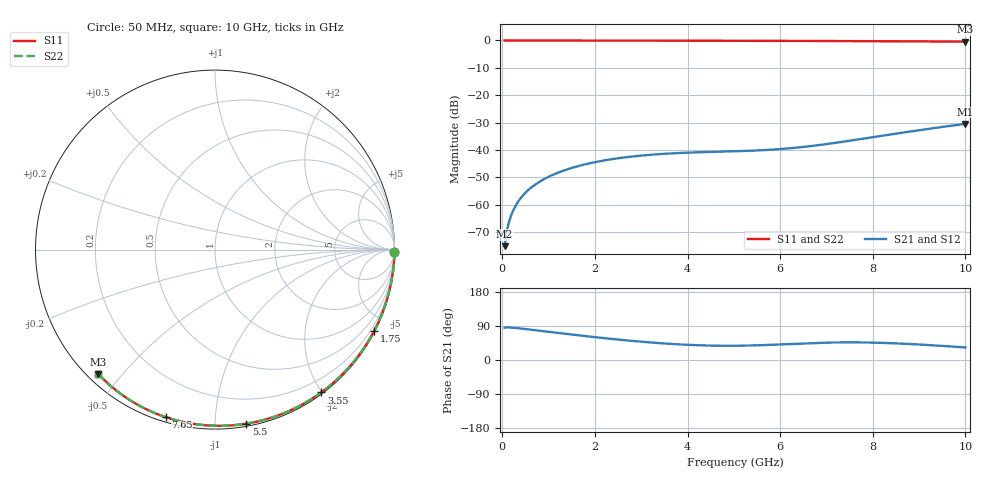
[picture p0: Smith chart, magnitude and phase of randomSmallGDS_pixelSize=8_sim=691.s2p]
! freq	dB(S11)	phase(S11)	dB(S12)	phase(S12)
!  dB(S21)	phase(S21)	dB(S22)	phase(S22)
!S-par simulation data
#  GHz  S  DB  R 50
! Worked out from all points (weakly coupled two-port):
!   200 points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, 50 MHz to 10 GHz, reference 50 ohm
!   highest |S21| = -30.49 dB at 10 GHz (marker M1); lowest = -75.2 dB at 50 MHz (marker M2)
!   lowest |S11| = -0.4 dB at 10 GHz (marker M3), VSWR 39.32, Z = 1.51 - j21.6 ohm
!   |S11| at or under -10 dB: nowhere
!   |S22| runs from -0.4 to 0.0 dB; largest |S21 - S12| = 0
!   S11 on the Smith chart (normalised r, x): 50 MHz: open; 1.75 GHz: 0.04, -4.17; 3.55 GHz: 0.02, -1.99; 5.5 GHz: 0.02, -1.20; 7.65 GHz: 0.02, -0.75; 10 GHz: 0.03, -0.43
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0.05  -0.00 -0.8  -75.20 85.4  -75.20 85.4  -0.00 -0.8
0.1  -0.00 -1.6  -69.46 85.8  -69.46 85.8  -0.00 -1.6
0.15  -0.00 -2.4  -66.02 85.8  -66.02 85.8  -0.00 -2.4
0.2  -0.00 -3.1  -63.55 85.5  -63.55 85.5  -0.00 -3.1
0.25  -0.00 -3.9  -61.63 85.0  -61.63 85.0  -0.00 -3.9
0.35  -0.00 -5.5  -58.74 83.8  -58.74 83.8  -0.00 -5.5
0.5  -0.01 -7.8  -55.67 81.7  -55.67 81.7  -0.01 -7.8
0.7  -0.01 -10.9  -52.81 78.8  -52.81 78.8  -0.01 -10.9
1  -0.02 -15.5  -49.83 74.4  -49.83 74.4  -0.02 -15.5
1.35  -0.03 -20.9  -47.41 69.3  -47.41 69.3  -0.03 -20.9
1.75  -0.03 -27.0  -45.44 63.7  -45.44 63.7  -0.03 -27.0
2.5  -0.05 -38.2  -43.06 53.9  -43.06 53.9  -0.05 -38.2
3.4  -0.07 -51.2  -41.54 44.4  -41.54 44.4  -0.07 -51.2
3.55  -0.07 -53.4  -41.38 43.2  -41.38 43.2  -0.07 -53.4
4.3  -0.09 -63.8  -40.84 38.7  -40.84 38.7  -0.09 -63.8
5.05  -0.11 -73.9  -40.49 37.7  -40.49 37.7  -0.11 -73.9
5.5  -0.13 -79.8  -40.21 38.8  -40.21 38.8  -0.13 -79.8
6.15  -0.16 -88.1  -39.50 41.9  -39.50 41.9  -0.16 -88.1
6.7  -0.18 -94.9  -38.54 44.6  -38.54 44.6  -0.18 -94.9
7.65  -0.24 -106.4  -36.28 46.5  -36.28 46.5  -0.24 -106.4
8.35  -0.29 -114.6  -34.44 44.6  -34.44 44.6  -0.29 -114.6
10  -0.44 -133.2  -30.49 33.1  -30.49 33.1  -0.44 -133.2
